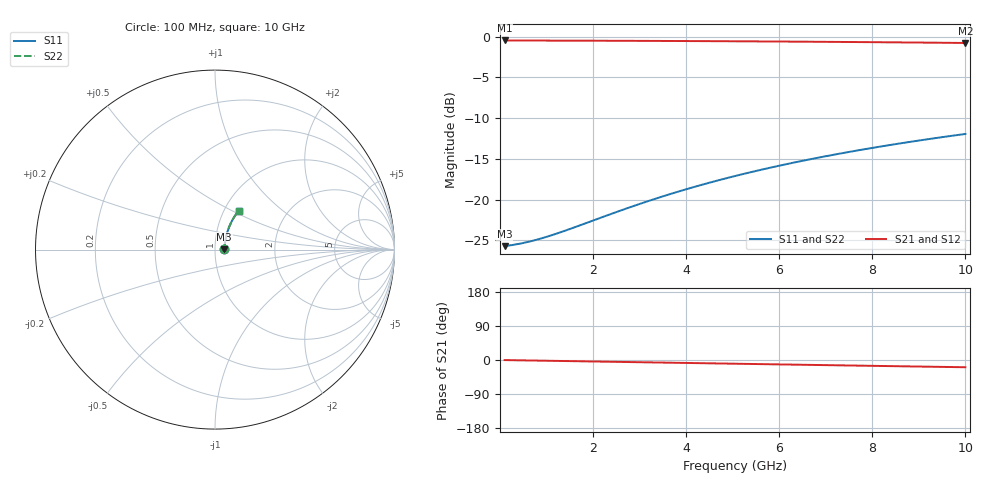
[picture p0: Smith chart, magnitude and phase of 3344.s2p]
# Hz S RI R 50.00
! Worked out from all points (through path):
!   100 points, 100 MHz to 10 GHz, reference 50 ohm
!   highest |S21| = -0.46 dB at 100 MHz (marker M1); lowest = -0.8 dB at 10 GHz (marker M2)
!   group delay of S21, straight-line fit = 5.32 ps
!   lowest |S11| = -25.7 dB at 100 MHz (marker M3), VSWR 1.11, Z = 55.5 + j0.268 ohm
!   |S11| at or under -10 dB: start of sweep to end of sweep
!   |S22| runs from -25.7 to -11.9 dB; largest |S21 - S12| = 0
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1e8  0.0518 0.00241  0.9482 -0.00324  0.9482 -0.00324  0.0518 0.00241
3e8  0.0525 0.00721  0.9475 -0.0097  0.9475 -0.0097  0.0525 0.00721
5e8  0.0529 0.012  0.9471 -0.0162  0.9471 -0.0162  0.0529 0.012
8e8  0.0536 0.0192  0.9463 -0.0258  0.9463 -0.0258  0.0536 0.0192
1e9  0.0541 0.0239  0.9458 -0.0323  0.9458 -0.0323  0.0541 0.0239
1.2e9  0.0547 0.0287  0.9453 -0.0387  0.9453 -0.0387  0.0547 0.0287
1.5e9  0.0555 0.0358  0.9444 -0.0483  0.9444 -0.0483  0.0555 0.0358
1.8e9  0.0565 0.0429  0.9433 -0.0579  0.9433 -0.0579  0.0565 0.0429
2.7e9  0.0603 0.0641  0.9394 -0.0865  0.9394 -0.0865  0.0603 0.0641
3.1e9  0.0623 0.0734  0.9373 -0.0992  0.9373 -0.0992  0.0623 0.0734
3.4e9  0.064 0.0803  0.9356 -0.1086  0.9356 -0.1086  0.064 0.0803
3.8e9  0.0664 0.0895  0.933 -0.1211  0.933 -0.1211  0.0664 0.0895
4.2e9  0.0691 0.0985  0.9302 -0.1335  0.9302 -0.1335  0.0691 0.0985
4.6e9  0.072 0.1075  0.9272 -0.1458  0.9272 -0.1458  0.072 0.1075
5.1e9  0.076 0.1186  0.9231 -0.1611  0.9231 -0.1611  0.076 0.1186
5.5e9  0.0794 0.1274  0.9195 -0.1732  0.9195 -0.1732  0.0794 0.1274
5.9e9  0.083 0.136  0.9157 -0.1851  0.9157 -0.1851  0.083 0.136
6.7e9  0.0909 0.1529  0.9074 -0.2087  0.9074 -0.2087  0.0909 0.1529
7.5e9  0.0996 0.1692  0.8983 -0.2317  0.8983 -0.2317  0.0996 0.1692
8.4e9  0.1104 0.1868  0.887 -0.2569  0.887 -0.2569  0.1104 0.1868
9.2e9  0.1207 0.2018  0.8762 -0.2786  0.8762 -0.2786  0.1207 0.2018
1e10  0.1317 0.2162  0.8647 -0.2997  0.8647 -0.2997  0.1317 0.2162
